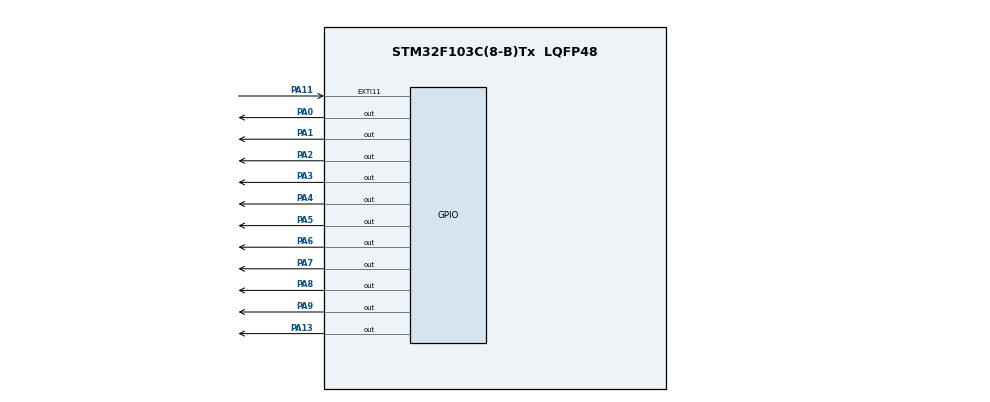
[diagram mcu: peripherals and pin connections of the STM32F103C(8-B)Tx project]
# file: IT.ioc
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Mcu.Family=STM32F1
Mcu.Name=STM32F103C(8-B)Tx
Mcu.Package=LQFP48
NVIC.EXTI15_10_IRQn=true\:1\:0\:true\:false\:true\:true\:true\:true
NVIC.PriorityGroup=NVIC_PRIORITYGROUP_4
PA0-WKUP.Signal=GPIO_Output
PA1.Signal=GPIO_Output
PA11.GPIO_ModeDefaultEXTI=GPIO_MODE_IT_FALLING
PA11.GPIO_PuPd=GPIO_PULLUP
PA11.Signal=GPXTI11
PA13.Signal=GPIO_Output
PA2.Signal=GPIO_Output
PA3.Signal=GPIO_Output
PA4.Signal=GPIO_Output
PA5.Signal=GPIO_Output
PA6.Signal=GPIO_Output
PA7.Signal=GPIO_Output
PA8.Signal=GPIO_Output
PA9.Signal=GPIO_Output
ProjectManager.HeapSize=0x200
ProjectManager.StackSize=0x400
ProjectManager.TargetToolchain=MDK-ARM V5
RCC.APB1Freq_Value=8000000
RCC.APB2Freq_Value=8000000
VP_SYS_VS_ND.Mode=No_Debug
board=custom

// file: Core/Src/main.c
/* USER CODE BEGIN Header */
/**
  ******************************************************************************
  * @file           : main.c
  * @brief          : Main program body
  ******************************************************************************
  * @attention
  *
  * Copyright (c) 2022 STMicroelectronics.
  * All rights reserved.
  *
  * This software is licensed under terms that can be found in the LICENSE file
  * in the root directory of this software component.
  * If no LICENSE file comes with this software, it is provided AS-IS.
  *
  ******************************************************************************
  */
/* USER CODE END Header */
#include "main.h"

/* USER CODE BEGIN PV */
	char ledCode[] = {0xc0, 0xf9, 0xa4, 0xb0, 0x99, 0x92, 0x82, 0xf8, 0x80, 0x90};
	int count = 0;
	int i;
/* USER CODE END PV */

void SystemClock_Config(void);
static void MX_GPIO_Init(void);

/* USER CODE BEGIN 0 */
void WritePort(uint8_t num) {
	HAL_GPIO_WritePin(GPIOA, GPIO_PIN_0, num & 0x0001);
	HAL_GPIO_WritePin(GPIOA, GPIO_PIN_1, num >> 1 & 0x0001);
	HAL_GPIO_WritePin(GPIOA, GPIO_PIN_2, num >> 2 & 0x0001);
	HAL_GPIO_WritePin(GPIOA, GPIO_PIN_3, num >> 3 & 0x0001);
	HAL_GPIO_WritePin(GPIOA, GPIO_PIN_4, num >> 4 & 0x0001);
	HAL_GPIO_WritePin(GPIOA, GPIO_PIN_5, num >> 5 & 0x0001);
	HAL_GPIO_WritePin(GPIOA, GPIO_PIN_6, num >> 6 & 0x0001);
	HAL_GPIO_WritePin(GPIOA, GPIO_PIN_7, num >> 7 & 0x0001);
}

void ScanLed(uint8_t num) {
	WritePort(ledCode[num / 10]);
	HAL_GPIO_WritePin(GPIOA, GPIO_PIN_8, GPIO_PIN_SET);
	HAL_GPIO_WritePin(GPIOA, GPIO_PIN_9, GPIO_PIN_RESET);
	HAL_Delay(100);

	WritePort(ledCode[num % 10]);
	HAL_GPIO_WritePin(GPIOA, GPIO_PIN_8, GPIO_PIN_RESET);
	HAL_GPIO_WritePin(GPIOA, GPIO_PIN_9, GPIO_PIN_SET);
	HAL_Delay(100);
}

void EXTI15_10_IRQHandler(void)
{
  /* USER CODE BEGIN EXTI15_10_IRQn 0 */
	count++;
	if(count > 25) count = 0;
  /* USER CODE END EXTI15_10_IRQn 0 */
  HAL_GPIO_EXTI_IRQHandler(GPIO_PIN_11);
  /* USER CODE BEGIN EXTI15_10_IRQn 1 */

  /* USER CODE END EXTI15_10_IRQn 1 */
}
/* USER CODE END 0 */

int main(void)
{

  /* MCU Configuration--------------------------------------------------------*/

  /* Reset of all peripherals, Initializes the Flash interface and the Systick. */
  HAL_Init();

  /* Configure the system clock */
  SystemClock_Config();

  /* Initialize all configured peripherals */
  MX_GPIO_Init();

  /* Infinite loop */
  while (1)
  {
		if(HAL_GPIO_ReadPin(GPIOA, GPIO_PIN_11) == 0) {
			i = 1;
			HAL_GPIO_WritePin(GPIOA, GPIO_PIN_13, GPIO_PIN_SET);
		} else {
			HAL_GPIO_WritePin(GPIOA, GPIO_PIN_13, GPIO_PIN_RESET);
		}

		if(i == 1) {
			ScanLed(count);
		} else {
			ScanLed(9);
		}
  }
}

void SystemClock_Config(void)
{
  RCC_OscInitTypeDef RCC_OscInitStruct = {0};
  RCC_ClkInitTypeDef RCC_ClkInitStruct = {0};

  /** Initializes the RCC Oscillators according to the specified parameters
  * in the RCC_OscInitTypeDef structure.
  */
  RCC_OscInitStruct.OscillatorType = RCC_OSCILLATORTYPE_HSI;
  RCC_OscInitStruct.HSIState = RCC_HSI_ON;
  RCC_OscInitStruct.HSICalibrationValue = RCC_HSICALIBRATION_DEFAULT;
  RCC_OscInitStruct.PLL.PLLState = RCC_PLL_NONE;
  if (HAL_RCC_OscConfig(&RCC_OscInitStruct) != HAL_OK)
  {
    Error_Handler();
  }

  /** Initializes the CPU, AHB and APB buses clocks
  */
  RCC_ClkInitStruct.ClockType = RCC_CLOCKTYPE_HCLK|RCC_CLOCKTYPE_SYSCLK
                              |RCC_CLOCKTYPE_PCLK1|RCC_CLOCKTYPE_PCLK2;
  RCC_ClkInitStruct.SYSCLKSource = RCC_SYSCLKSOURCE_HSI;
  RCC_ClkInitStruct.AHBCLKDivider = RCC_SYSCLK_DIV1;
  RCC_ClkInitStruct.APB1CLKDivider = RCC_HCLK_DIV1;
  RCC_ClkInitStruct.APB2CLKDivider = RCC_HCLK_DIV1;

  if (HAL_RCC_ClockConfig(&RCC_ClkInitStruct, FLASH_LATENCY_0) != HAL_OK)
  {
    Error_Handler();
  }
}

static void MX_GPIO_Init(void)
{
  GPIO_InitTypeDef GPIO_InitStruct = {0};

  /* GPIO Ports Clock Enable */
  __HAL_RCC_GPIOA_CLK_ENABLE();

  /*Configure GPIO pin Output Level */
  HAL_GPIO_WritePin(GPIOA, GPIO_PIN_0|GPIO_PIN_1|GPIO_PIN_2|GPIO_PIN_3
                          |GPIO_PIN_4|GPIO_PIN_5|GPIO_PIN_6|GPIO_PIN_7
                          |GPIO_PIN_8|GPIO_PIN_9|GPIO_PIN_13, GPIO_PIN_RESET);

  /*Configure GPIO pins : PA0 PA1 PA2 PA3
                           PA4 PA5 PA6 PA7
                           PA8 PA9 PA13 */
  GPIO_InitStruct.Pin = GPIO_PIN_0|GPIO_PIN_1|GPIO_PIN_2|GPIO_PIN_3
                          |GPIO_PIN_4|GPIO_PIN_5|GPIO_PIN_6|GPIO_PIN_7
                          |GPIO_PIN_8|GPIO_PIN_9|GPIO_PIN_13;
  GPIO_InitStruct.Mode = GPIO_MODE_OUTPUT_PP;
  GPIO_InitStruct.Pull = GPIO_NOPULL;
  GPIO_InitStruct.Speed = GPIO_SPEED_FREQ_LOW;
  HAL_GPIO_Init(GPIOA, &GPIO_InitStruct);

  /*Configure GPIO pin : PA11 */
  GPIO_InitStruct.Pin = GPIO_PIN_11;
  GPIO_InitStruct.Mode = GPIO_MODE_IT_FALLING;
  GPIO_InitStruct.Pull = GPIO_PULLUP;
  HAL_GPIO_Init(GPIOA, &GPIO_InitStruct);

  /* EXTI interrupt init*/
  HAL_NVIC_SetPriority(EXTI15_10_IRQn, 1, 0);
  HAL_NVIC_EnableIRQ(EXTI15_10_IRQn);

}

void Error_Handler(void)
{
  __disable_irq();
  while (1)
  {
  }
}
